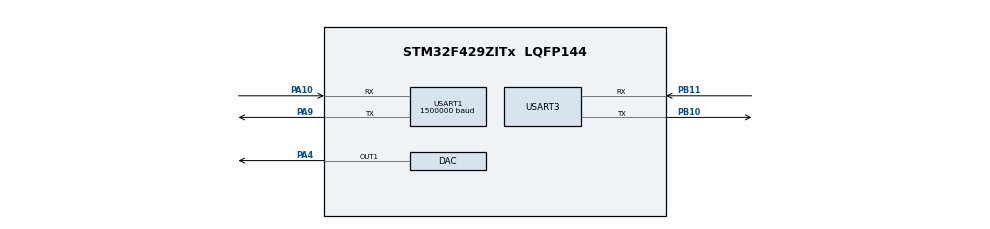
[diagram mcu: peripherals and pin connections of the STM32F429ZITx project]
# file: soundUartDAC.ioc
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DAC.DAC_Trigger=DAC_TRIGGER_T8_TRGO
Dma.DAC1.1.Direction=DMA_MEMORY_TO_PERIPH
Dma.DAC1.1.FIFOMode=DMA_FIFOMODE_DISABLE
Dma.DAC1.1.Instance=DMA1_Stream5
Dma.DAC1.1.MemDataAlignment=DMA_MDATAALIGN_HALFWORD
Dma.DAC1.1.MemInc=DMA_MINC_ENABLE
Dma.DAC1.1.Mode=DMA_CIRCULAR
Dma.DAC1.1.PeriphDataAlignment=DMA_PDATAALIGN_HALFWORD
Dma.DAC1.1.PeriphInc=DMA_PINC_DISABLE
Dma.DAC1.1.Priority=DMA_PRIORITY_LOW
Dma.Request0=USART1_RX
Dma.Request1=DAC1
Dma.USART1_RX.0.Direction=DMA_PERIPH_TO_MEMORY
Dma.USART1_RX.0.FIFOMode=DMA_FIFOMODE_DISABLE
Dma.USART1_RX.0.Instance=DMA2_Stream2
Dma.USART1_RX.0.MemDataAlignment=DMA_MDATAALIGN_HALFWORD
Dma.USART1_RX.0.MemInc=DMA_MINC_ENABLE
Dma.USART1_RX.0.Mode=DMA_CIRCULAR
Dma.USART1_RX.0.PeriphDataAlignment=DMA_PDATAALIGN_HALFWORD
Dma.USART1_RX.0.PeriphInc=DMA_PINC_DISABLE
Dma.USART1_RX.0.Priority=DMA_PRIORITY_LOW
Mcu.Family=STM32F4
Mcu.Name=STM32F429ZITx
Mcu.Package=LQFP144
NVIC.DMA1_Stream5_IRQn=true\:0\:0\:false\:false\:true\:false\:true\:true
NVIC.DMA2_Stream2_IRQn=true\:0\:0\:false\:false\:true\:false\:true\:true
NVIC.PriorityGroup=NVIC_PRIORITYGROUP_4
NVIC.TIM6_DAC_IRQn=true\:0\:0\:false\:false\:true\:true\:true\:true
NVIC.USART1_IRQn=true\:0\:0\:false\:false\:true\:true\:true\:true
NVIC.USART3_IRQn=true\:0\:0\:false\:false\:true\:true\:true\:true
PA10.Mode=Asynchronous
PA10.Signal=USART1_RX
PA13.Mode=Serial_Wire
PA13.Signal=SYS_JTMS-SWDIO
PA14.Mode=Serial_Wire
PA14.Signal=SYS_JTCK-SWCLK
PA4.Signal=COMP_DAC1_group
PA9.Mode=Asynchronous
PA9.Signal=USART1_TX
PB10.Mode=Asynchronous
PB10.Signal=USART3_TX
PB11.Mode=Asynchronous
PB11.Signal=USART3_RX
ProjectManager.HeapSize=0x0200
ProjectManager.StackSize=0x0400
ProjectManager.TargetToolchain=Makefile
RCC.48MHZClocksFreq_Value=48000000
RCC.AHBFreq_Value=120000000
RCC.APB1CLKDivider=RCC_HCLK_DIV4
RCC.APB1Freq_Value=30000000
RCC.APB1TimFreq_Value=60000000
RCC.APB2CLKDivider=RCC_HCLK_DIV2
RCC.APB2Freq_Value=60000000
RCC.APB2TimFreq_Value=120000000
RCC.CortexFreq_Value=120000000
RCC.HCLKFreq_Value=120000000
RCC.HSE_VALUE=8000000
RCC.HSI_VALUE=16000000
RCC.LSE_VALUE=32768
RCC.PLLM=8
RCC.PLLN=120
RCC.PLLQ=5
RCC.SYSCLKFreq_VALUE=120000000
RCC.SYSCLKSource=RCC_SYSCLKSOURCE_PLLCLK
RCC.VCOOutputFreq_Value=240000000
SH.COMP_DAC1_group.0=DAC_OUT1,DAC_OUT1
TIM8.Period=679
TIM8.Prescaler=3
TIM8.TIM_MasterOutputTrigger=TIM_TRGO_UPDATE
USART1.BaudRate=1500000
USART1.VirtualMode=VM_ASYNC
USART3.VirtualMode=VM_ASYNC
VP_TIM8_VS_ClockSourceINT.Mode=Internal
board=custom

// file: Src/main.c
/* USER CODE BEGIN Header */
/**
  ******************************************************************************
  * @file           : main.c
  * @brief          : Main program body
  ******************************************************************************
  * @attention
  *
  * Copyright (c) 2024 STMicroelectronics.
  * All rights reserved.
  *
  * This software is licensed under terms that can be found in the LICENSE file
  * in the root directory of this software component.
  * If no LICENSE file comes with this software, it is provided AS-IS.
  *
  ******************************************************************************
  */
/* USER CODE END Header */
#include "main.h"
#include "dac.h"
#include "dma.h"
#include "tim.h"
#include "usart.h"
#include "gpio.h"

/* USER CODE BEGIN Includes */
#include "user_functions.h"
#include <string.h>
/* USER CODE END Includes */

/* USER CODE BEGIN PV */
uint8_t buffer[BUFFER_SIZE]; // audio buffer
SystemState currentState = IDLE;
uint8_t startFlag = 0;
uint8_t startAudioFlag = 0;

/* USER CODE END PV */

void SystemClock_Config(void);

int main(void)
{

  /* MCU Configuration--------------------------------------------------------*/

  /* Reset of all peripherals, Initializes the Flash interface and the Systick. */
  LL_APB2_GRP1_EnableClock(LL_APB2_GRP1_PERIPH_SYSCFG);
  LL_APB1_GRP1_EnableClock(LL_APB1_GRP1_PERIPH_PWR);

  /* System interrupt init*/
  NVIC_SetPriorityGrouping(NVIC_PRIORITYGROUP_4);

  /* SysTick_IRQn interrupt configuration */
  NVIC_SetPriority(SysTick_IRQn, NVIC_EncodePriority(NVIC_GetPriorityGrouping(),15, 0));

  /* Configure the system clock */
  SystemClock_Config();

  /* Initialize all configured peripherals */
  MX_GPIO_Init();
  MX_DMA_Init();
  MX_USART1_UART_Init();
  MX_DAC_Init();
  MX_USART3_UART_Init();
  MX_TIM8_Init();

  /* Infinite loop */
  /* USER CODE BEGIN WHILE */
  while (1)
  {
    switch (currentState) // State machine
    {
    case IDLE:
      /* code */
      break;
    case PLAYING:
      Playback();
      break;
    case STOPPED:
      Stop();
      currentState = IDLE;
      break;
    default:
      break;
    }
    /* USER CODE END WHILE */

  }
}

void SystemClock_Config(void)
{
  LL_FLASH_SetLatency(LL_FLASH_LATENCY_3);
  while(LL_FLASH_GetLatency()!= LL_FLASH_LATENCY_3)
  {
  }
  LL_PWR_SetRegulVoltageScaling(LL_PWR_REGU_VOLTAGE_SCALE3);
  LL_PWR_DisableOverDriveMode();
  LL_RCC_HSI_SetCalibTrimming(16);
  LL_RCC_HSI_Enable();

   /* Wait till HSI is ready */
  while(LL_RCC_HSI_IsReady() != 1)
  {

  }
  LL_RCC_PLL_ConfigDomain_SYS(LL_RCC_PLLSOURCE_HSI, LL_RCC_PLLM_DIV_8, 120, LL_RCC_PLLP_DIV_2);
  LL_RCC_PLL_Enable();

   /* Wait till PLL is ready */
  while(LL_RCC_PLL_IsReady() != 1)
  {

  }
  while (LL_PWR_IsActiveFlag_VOS() == 0)
  {
  }
  LL_RCC_SetAHBPrescaler(LL_RCC_SYSCLK_DIV_1);
  LL_RCC_SetAPB1Prescaler(LL_RCC_APB1_DIV_4);
  LL_RCC_SetAPB2Prescaler(LL_RCC_APB2_DIV_2);
  LL_RCC_SetSysClkSource(LL_RCC_SYS_CLKSOURCE_PLL);

   /* Wait till System clock is ready */
  while(LL_RCC_GetSysClkSource() != LL_RCC_SYS_CLKSOURCE_STATUS_PLL)
  {

  }
  LL_Init1msTick(120000000);
  LL_SetSystemCoreClock(120000000);
  LL_RCC_SetTIMPrescaler(LL_RCC_TIM_PRESCALER_TWICE);
}

/* USER CODE BEGIN 4 */

void StartUSARTAudio_DMA(void) {
    LL_DMA_EnableStream(DMA2, LL_DMA_STREAM_2);
    LL_USART_EnableDMAReq_RX(USART1);
    while(!LL_USART_IsActiveFlag_TC(USART1));
    LL_USART_TransmitData8(USART1, REQUEST_NEW_DATA);
}

void StopUSARTAudio_DMA(void) {
    LL_DMA_DisableStream(DMA2, LL_DMA_STREAM_2);
    LL_USART_DisableDMAReq_RX(USART1);
}

void StartDACAudio_DMA()
{
  LL_DMA_EnableStream(DMA1, LL_DMA_STREAM_5);
  LL_DAC_EnableDMAReq(DAC, LL_DAC_CHANNEL_1);
  LL_TIM_EnableCounter(TIM8);
  LL_DAC_Enable(DAC1, LL_DAC_CHANNEL_1);
}

void StopDACAudio_DMA()
{
  LL_DAC_DisableDMAReq(DAC, LL_DAC_CHANNEL_1);
  LL_DMA_DisableStream(DMA1, LL_DMA_STREAM_5);
  LL_TIM_DisableCounter(TIM8);
  LL_DAC_Disable(DAC1, LL_DAC_CHANNEL_1);
}

void Playback()
{
  if(startFlag == 0)
  {
    startFlag = 1;
    StartUSARTAudio_DMA();
  }
}

void Pause()
{

}

void Stop()
{
  startFlag = 0;
  startAudioFlag = 0;
  StopUSARTAudio_DMA();
  StopDACAudio_DMA();
}

void ProcessCommand(uint8_t command)
{
  switch (command)
  {
  case CMD_PING:
    SendString("pong");
    break;
  case CMD_PLAY:
    currentState = PLAYING;
    SendString("playing");
    break;
  case CMD_PAUSE:
    currentState = PAUSED;
    break;
  case CMD_STOP:
    currentState = STOPPED;
    SendString("stopped");
    break;
  case CMD_UNKNOWN:
  default:
    break;
  }
}

void SendString(const char* str) {
    while (*str) {
        while (!LL_USART_IsActiveFlag_TXE(USART3));
        LL_USART_TransmitData8(USART3, *str++);
    }
    while (!LL_USART_IsActiveFlag_TXE(USART3));
    LL_USART_TransmitData8(USART3, '\n');
    while (!LL_USART_IsActiveFlag_TXE(USART3));
    LL_USART_TransmitData8(USART3, '\r');

}

/* USER CODE END 4 */

void Error_Handler(void)
{
  __disable_irq();
  while (1)
  {
  }
}
